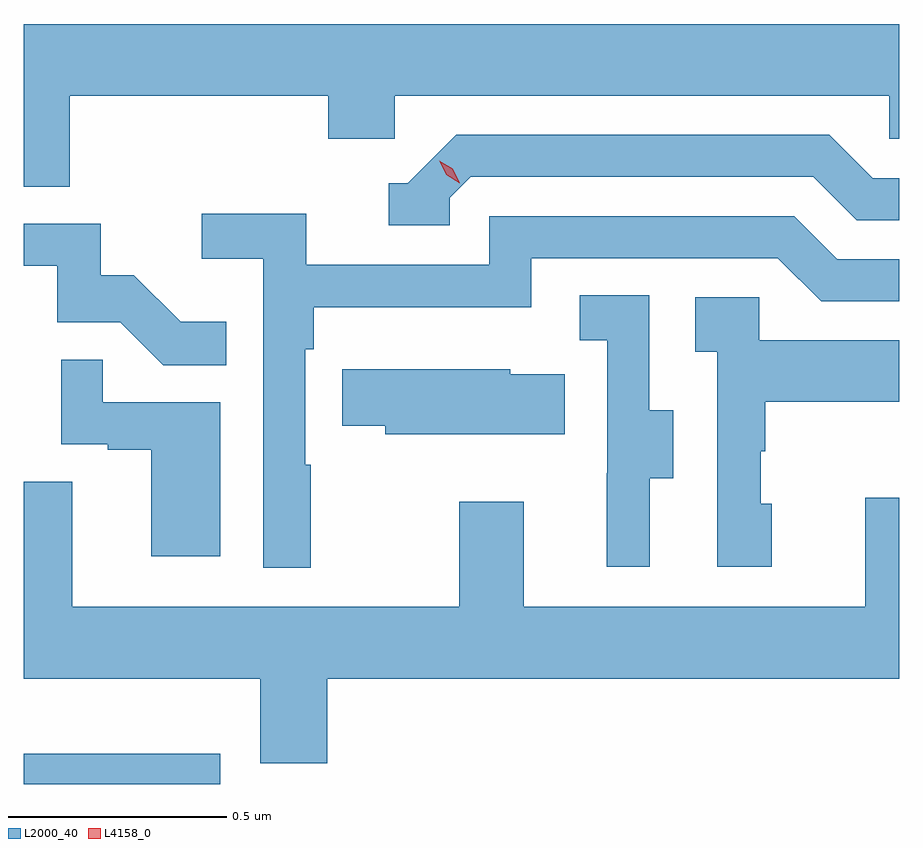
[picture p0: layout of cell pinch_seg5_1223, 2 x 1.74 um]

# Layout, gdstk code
import gdstk
lib = gdstk.Library(unit=1e-6, precision=1e-09)
def R(c, l, rs):  # rectangles x0, y0, x1, y1
    for r in rs: c.add(gdstk.rectangle(r[:2], r[2:], *l))
def P(c, l, *ps):  # polygons
    for p in ps: c.add(gdstk.Polygon(p, *l))
L2000_40 = (2000, 40)
L4158_0 = (4158, 0)

pinch_seg5_1223 = lib.new_cell('pinch_seg5_1223')
R(pinch_seg5_1223, L2000_40, [(862.133,845.863,862.582,845.932)])
P(pinch_seg5_1223, L2000_40, [(862.238,847.436),(862.829,847.436),(862.829,847.338),(862.98,847.338),(862.98,847.436),(864.111,847.436),(864.111,847.338),(864.133,847.338),(864.133,847.6),(862.133,847.6),(862.133,847.228),(862.238,847.228)],
  [(863.106,847.203),(863.154,847.251),(863.937,847.251),(864.036,847.152),(864.133,847.152),(864.133,847.248),(864.073,847.248),(863.974,847.347),(863.121,847.347),(863.01,847.236),(862.967,847.236),(862.967,847.14),(863.106,847.14)],
  [(862.789,846.593),(862.776,846.593),(862.776,846.857),(862.795,846.857),(862.795,846.953),(863.292,846.953),(863.292,847.065),(863.856,847.065),(863.955,846.966),(864.133,846.966),(864.133,847.062),(863.992,847.062),(863.893,847.161),(863.196,847.161),(863.196,847.05),(862.778,847.05),(862.778,847.166),(862.539,847.166),(862.539,847.064),(862.68,847.064),(862.68,846.357),(862.789,846.357)],
  [(862.595,846.919),(862.491,846.919),(862.384,847.026),(862.308,847.026),(862.308,847.143),(862.133,847.143),(862.133,847.047),(862.209,847.047),(862.209,846.918),(862.353,846.918),(862.451,846.82),(862.595,846.82)],
  [(863.563,846.562),(863.617,846.562),(863.617,846.717),(863.562,846.717),(863.562,846.98),(863.403,846.98),(863.403,846.877),(863.466,846.877),(863.466,846.573),(863.465,846.573),(863.465,846.36),(863.563,846.36)],
  [(863.842,846.504),(863.817,846.504),(863.817,846.623),(863.827,846.623),(863.827,846.737),(864.133,846.737),(864.133,846.877),(863.814,846.877),(863.814,846.975),(863.667,846.975),(863.667,846.851),(863.718,846.851),(863.718,846.36),(863.842,846.36)],
  [(862.582,846.735),(862.313,846.735),(862.313,846.833),(862.218,846.833),(862.218,846.639),(862.325,846.639),(862.325,846.627),(862.424,846.627),(862.424,846.384),(862.582,846.384)],
  [(863.369,846.799),(863.244,846.799),(863.244,846.811),(862.861,846.811),(862.861,846.682),(862.959,846.682),(862.959,846.662),(863.369,846.662)],
  [(862.826,846.104),(864.133,846.104),(864.133,846.517),(864.056,846.517),(864.056,846.268),(863.275,846.268),(863.275,846.508),(863.128,846.508),(863.128,846.268),(862.243,846.268),(862.243,846.554),(862.133,846.554),(862.133,846.104),(862.673,846.104),(862.673,845.91),(862.826,845.91)])
P(pinch_seg5_1223, L4158_0, [(863.129,847.236),(863.098,847.256),(863.082,847.288),(863.082,847.288),(863.082,847.288),(863.113,847.269),(863.129,847.237),(863.129,847.236)])

lib.write_gds('pinch_seg5_1223.gds')
